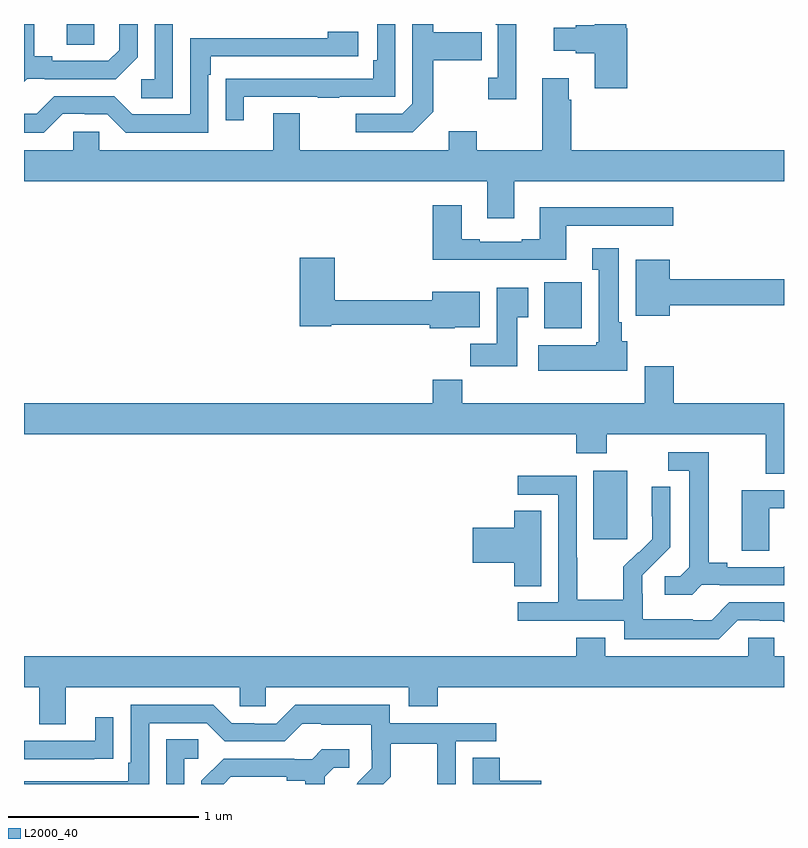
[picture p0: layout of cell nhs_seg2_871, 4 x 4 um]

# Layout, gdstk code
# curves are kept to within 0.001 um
import gdstk
lib = gdstk.Library(unit=1e-6, precision=1e-09)
def R(c, l, rs):  # rectangles x0, y0, x1, y1
    for r in rs: c.add(gdstk.rectangle(r[:2], r[2:], *l))
def P(c, l, *ps):  # polygons
    for p in ps: c.add(gdstk.Polygon(p, *l))
L2000_40 = (2000, 40)

nhs_seg2_871 = lib.new_cell('nhs_seg2_871')
R(nhs_seg2_871, L2000_40, [(157.997,643.089,158.176,643.45), (157.739,644.198,157.936,644.44), (155.225,645.691,155.37,645.8)])
P(nhs_seg2_871, L2000_40, [(155.016,645.513),(155.11,645.513),(155.11,645.51),(155.482,645.51),(155.598,645.626),(155.598,645.8),(155.501,645.8),(155.501,645.663),(155.444,645.606),(155.149,645.606),(155.149,645.629),(155.053,645.629),(155.053,645.8),(155,645.8),(155,645.497)],
  [(157.592,645.8),(157.482,645.8),(157.482,645.797),(157.494,645.797),(157.494,645.518),(157.443,645.518),(157.443,645.405),(157.592,645.405)],
  [(156.157,645.417),(156.547,645.417),(156.547,645.412),(156.659,645.412),(156.659,645.417),(156.954,645.417),(156.954,645.8),(156.858,645.8),(156.858,645.61),(156.838,645.61),(156.838,645.513),(156.163,645.513),(156.163,645.512),(156.061,645.512),(156.061,645.294),(156.157,645.294)],
  [(158.176,645.777),(158.171,645.777),(158.171,645.8),(158.003,645.8),(158.003,645.794),(157.904,645.794),(157.904,645.781),(157.788,645.781),(157.788,645.659),(157.904,645.659),(157.904,645.647),(158.003,645.647),(158.003,645.462),(158.176,645.462)],
  [(157.153,645.337),(157.153,645.61),(157.409,645.61),(157.409,645.757),(157.153,645.757),(157.153,645.8),(157.044,645.8),(157.044,645.381),(156.99,645.327),(156.747,645.327),(156.747,645.231),(157.047,645.231)],
  [(155.784,645.8),(155.688,645.8),(155.688,645.51),(155.616,645.51),(155.616,645.409),(155.784,645.409)],
  [(155.205,645.327),(155.321,645.327),(155.321,645.324),(155.439,645.324),(155.535,645.228),(155.97,645.228),(155.97,645.533),(155.983,645.533),(155.983,645.63),(156.76,645.63),(156.76,645.76),(156.599,645.76),(156.599,645.726),(155.874,645.726),(155.874,645.324),(155.571,645.324),(155.475,645.42),(155.16,645.42),(155.067,645.327),(155,645.327),(155,645.227),(155.105,645.227)],
  [(157.579,644.972),(159,644.972),(159,645.136),(157.88,645.136),(157.88,645.401),(157.867,645.401),(157.867,645.514),(157.727,645.514),(157.727,645.136),(157.383,645.136),(157.383,645.235),(157.235,645.235),(157.235,645.136),(156.451,645.136),(156.451,645.331),(156.311,645.331),(156.311,645.136),(155.397,645.136),(155.397,645.234),(155.259,645.234),(155.259,645.136),(155,645.136),(155,644.972),(157.439,644.972),(157.439,644.778),(157.579,644.778)],
  [(157.855,644.739),(158.416,644.739),(158.416,644.836),(157.715,644.836),(157.715,644.668),(157.619,644.668),(157.619,644.655),(157.399,644.655),(157.399,644.668),(157.303,644.668),(157.303,644.845),(157.151,644.845),(157.151,644.558),(157.855,644.558)],
  [(158.176,644.13),(158.146,644.13),(158.146,644.23),(158.131,644.23),(158.131,644.62),(157.991,644.62),(157.991,644.507),(158.024,644.507),(158.024,644.124),(158.011,644.124),(158.011,644.11),(157.707,644.11),(157.707,643.976),(158.176,643.976)],
  [(157.266,644.204),(157.399,644.204),(157.399,644.392),(157.148,644.392),(157.148,644.345),(156.635,644.345),(156.635,644.569),(156.452,644.569),(156.452,644.209),(156.618,644.209),(156.618,644.217),(157.136,644.217),(157.136,644.198),(157.266,644.198)],
  [(158.398,644.32),(159,644.32),(159,644.456),(158.398,644.456),(158.398,644.56),(158.219,644.56),(158.219,644.264),(158.398,644.264)],
  [(157.597,644.257),(157.654,644.257),(157.654,644.413),(157.487,644.413),(157.487,644.116),(157.348,644.116),(157.348,643.998),(157.597,643.998)],
  [(159,643.804),(158.42,643.804),(158.42,643.999),(158.267,643.999),(158.267,643.804),(157.307,643.804),(157.307,643.928),(157.151,643.928),(157.151,643.804),(155,643.804),(155,643.64),(157.907,643.64),(157.907,643.541),(158.067,643.541),(158.067,643.64),(158.903,643.64),(158.903,643.432),(159,643.432)],
  [(158.568,642.849),(158.662,642.849),(158.662,642.846),(159,642.846),(159,642.946),(158.996,642.942),(158.701,642.942),(158.701,642.965),(158.605,642.965),(158.605,643.545),(158.391,643.545),(158.391,643.449),(158.501,643.449),(158.501,642.941),(158.454,642.894),(158.373,642.894),(158.373,642.797),(158.516,642.797)],
  [(158.757,642.663),(158.873,642.663),(158.873,642.66),(158.991,642.66),(159,642.651),(159,642.756),(158.712,642.756),(158.619,642.663),(158.519,642.663),(158.519,642.667),(158.256,642.667),(158.256,642.801),(158.254,642.801),(158.254,642.898),(158.4,643.046),(158.4,643.364),(158.304,643.364),(158.304,643.21),(158.306,643.21),(158.306,643.088),(158.235,643.017),(158.232,643.02),(158.155,642.943),(158.155,642.769),(157.911,642.769),(157.911,642.992),(157.908,642.992),(157.908,643.422),(157.599,643.422),(157.599,643.323),(157.812,643.323),(157.812,642.756),(157.599,642.756),(157.599,642.66),(158.16,642.66),(158.16,642.563),(158.657,642.563)],
  [(158.922,643.251),(159,643.251),(159,643.347),(158.777,643.347),(158.777,643.027),(158.922,643.027)],
  [(157.723,643.238),(157.58,643.238),(157.58,643.148),(157.362,643.148),(157.362,642.965),(157.58,642.965),(157.58,642.841),(157.723,642.841)],
  [(155.221,642.308),(156.135,642.308),(156.135,642.21),(156.273,642.21),(156.273,642.308),(157.025,642.308),(157.025,642.209),(157.178,642.209),(157.178,642.308),(159,642.308),(159,642.472),(158.949,642.472),(158.949,642.57),(158.811,642.57),(158.811,642.472),(158.059,642.472),(158.059,642.571),(157.907,642.571),(157.907,642.472),(155,642.472),(155,642.308),(155.081,642.308),(155.081,642.114),(155.221,642.114)],
  [(155.658,642.12),(155.961,642.12),(156.057,642.024),(156.372,642.024),(156.465,642.117),(156.565,642.117),(156.565,642.113),(156.828,642.113),(156.828,641.979),(156.83,641.979),(156.83,641.882),(156.756,641.808),(156.757,641.807),(156.75,641.8),(156.892,641.8),(156.929,641.837),(156.929,642.012),(157.174,642.012),(157.174,641.8),(157.272,641.8),(157.272,642.024),(157.486,642.024),(157.486,642.12),(156.924,642.12),(156.924,642.217),(156.427,642.217),(156.327,642.117),(156.212,642.117),(156.212,642.12),(156.093,642.12),(155.997,642.216),(155.562,642.216),(155.562,641.911),(155.549,641.911),(155.549,641.814),(155,641.814),(155,641.8),(155.658,641.8)],
  [(155.369,641.932),(155.471,641.932),(155.471,642.151),(155.375,642.151),(155.375,642.027),(155,642.027),(155,641.931),(155.369,641.931)],
  [(155.844,641.934),(155.917,641.934),(155.917,642.035),(155.748,642.035),(155.748,641.8),(155.844,641.8)],
  [(156.088,641.838),(156.383,641.838),(156.383,641.816),(156.479,641.816),(156.479,641.8),(156.583,641.8),(156.583,641.839),(156.63,641.886),(156.712,641.886),(156.712,641.983),(156.568,641.983),(156.516,641.931),(156.422,641.931),(156.422,641.934),(156.05,641.934),(155.934,641.818),(155.934,641.8),(156.05,641.8)],
  [(157.723,641.816),(157.505,641.816),(157.505,641.939),(157.361,641.939),(157.361,641.8),(157.723,641.8)])

lib.write_gds('nhs_seg2_871.gds')
